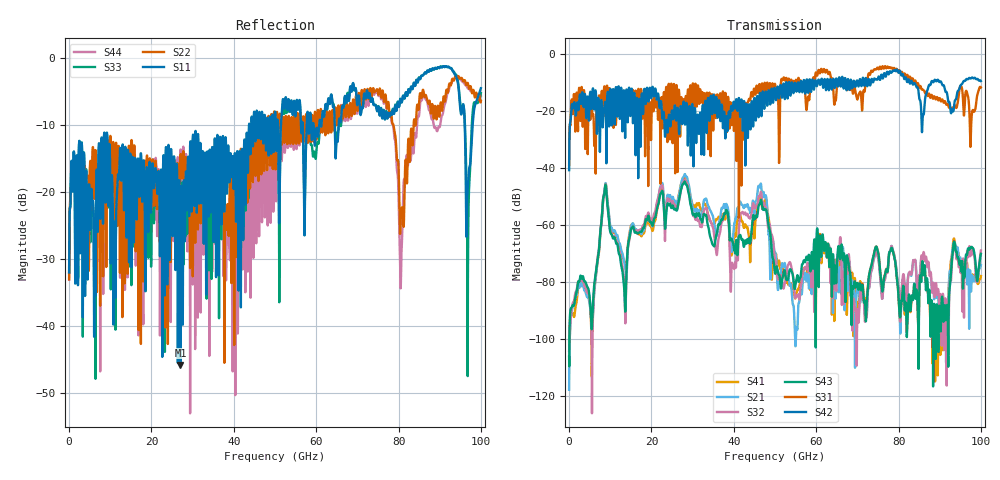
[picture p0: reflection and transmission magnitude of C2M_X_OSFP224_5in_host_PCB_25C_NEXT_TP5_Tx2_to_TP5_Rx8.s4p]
# GHz S RI R 45
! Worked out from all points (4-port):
!   4000 points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, 25 MHz to 100 GHz, reference 45 ohm
!   strongest paths, dB at 25 MHz, 25.02 GHz, 50.02 GHz, 75.03 GHz, 100 GHz:
!     S42: -40.8, -19.9, -12.4, -8.5, -9.5
!     S31: -38.9, -14.8, -10.6, -5.1, -11.7
!     S43: -106.2, -53.6, -77.1, -69.5, -70.2
!     S32: -104.2, -52.1, -72.4, -71.4, -69.0
!     S21: -117.9, -50.7, -69.7, -71.4, -74.1
!     S41: -100.2, -52.1, -71.4, -69.5, -78.0
!   lowest |S11| = -45.8 dB at 27.05 GHz (marker M1), VSWR 1.01, Z = 45.2 - j0.428 ohm
!   |S11| at or under -10 dB: start of sweep to 43.71 GHz; 59.39 GHz to 60.74 GHz (1.355 GHz wide, 2.26 % of centre); 96.08 GHz to 98 GHz (1.928 GHz wide, 1.99 % of centre)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
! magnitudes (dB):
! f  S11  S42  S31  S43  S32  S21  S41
! 25 MHz  -32.0  -40.8  -38.9  -106.2  -104.2  -117.9  -100.2
! 8.7 GHz  -12.6  -17.3  -12.1  -47.4  -47.3  -47.1  -47.3
! 27.05 GHz  -45.8  -19.0  -21.4  -48.6  -48.7  -46.7  -46.6
! 39.65 GHz  -15.3  -20.0  -20.5  -65.6  -73.5  -67.9  -69.4
! 46.42 GHz  -10.1  -13.9  -11.7  -52.2  -49.4  -46.2  -50.2
! 52.17 GHz  -7.0  -11.1  -8.2  -76.5  -82.1  -74.3  -76.9
! 100 GHz  -4.6  -9.5  -11.7  -70.2  -69.0  -74.1  -78.0
